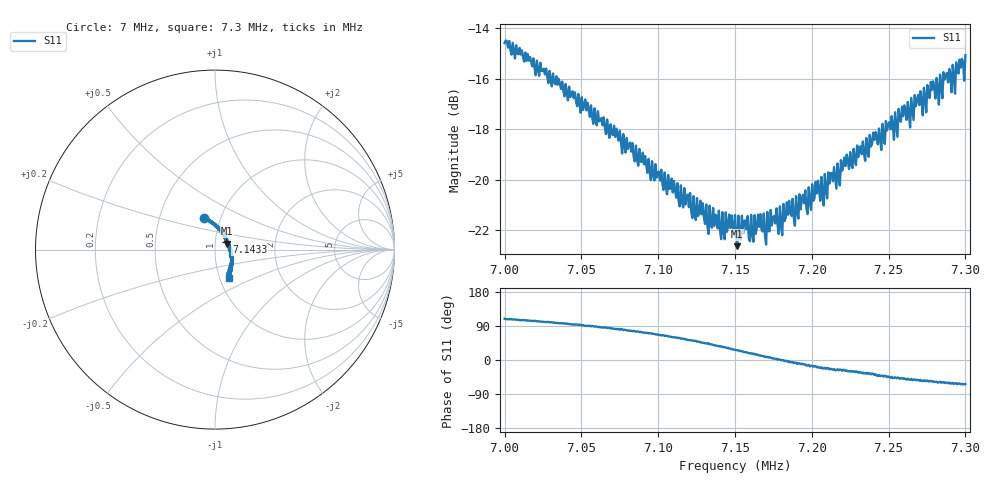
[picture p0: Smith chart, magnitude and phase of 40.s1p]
# Hz S RI R 50
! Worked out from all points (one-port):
!   401 points, 7 MHz to 7.3 MHz, reference 50 ohm
!   lowest |S11| = -22.6 dB at 7.1515 MHz (marker M1), VSWR 1.16, Z = 57 + j3.71 ohm
!   |S11| at or under -10 dB: start of sweep to end of sweep
!   S11 on the Smith chart (normalised r, x): 7 MHz: 0.84, +0.31; 7.1433 MHz: 1.13, +0.10; 7.3 MHz: 1.11, -0.36
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7000000  -0.0602 0.1765
7037500  -0.0173 0.1555
7075000  0.0222 0.123
7112500  0.0522 0.0835
7119250  0.0564 0.0745
7123000  0.0592 0.0715
7128250  0.0592 0.0616
7133500  0.0664 0.0591
7143250  0.0633 0.0426
7147000  0.0695 0.0401
7150000  0.0759 0.0386
7151500  0.0664 0.0324
7156750  0.0778 0.0293
7160500  0.0812 0.0259
7165750  0.079 0.0168
7171000  0.0855 0.0124
7174750  0.084 0.00719
7179250  0.0886 0.00187
7184500  0.085 -0.00699
7187500  0.0913 -0.00874
7208500  0.0963 -0.0359
7225000  0.0995 -0.0546
7262500  0.093 -0.1081
7278250  0.0817 -0.1267
7283500  0.0872 -0.1359
7287250  0.0822 -0.1381
7291750  0.0833 -0.1469
7300000  0.0791 -0.1578
